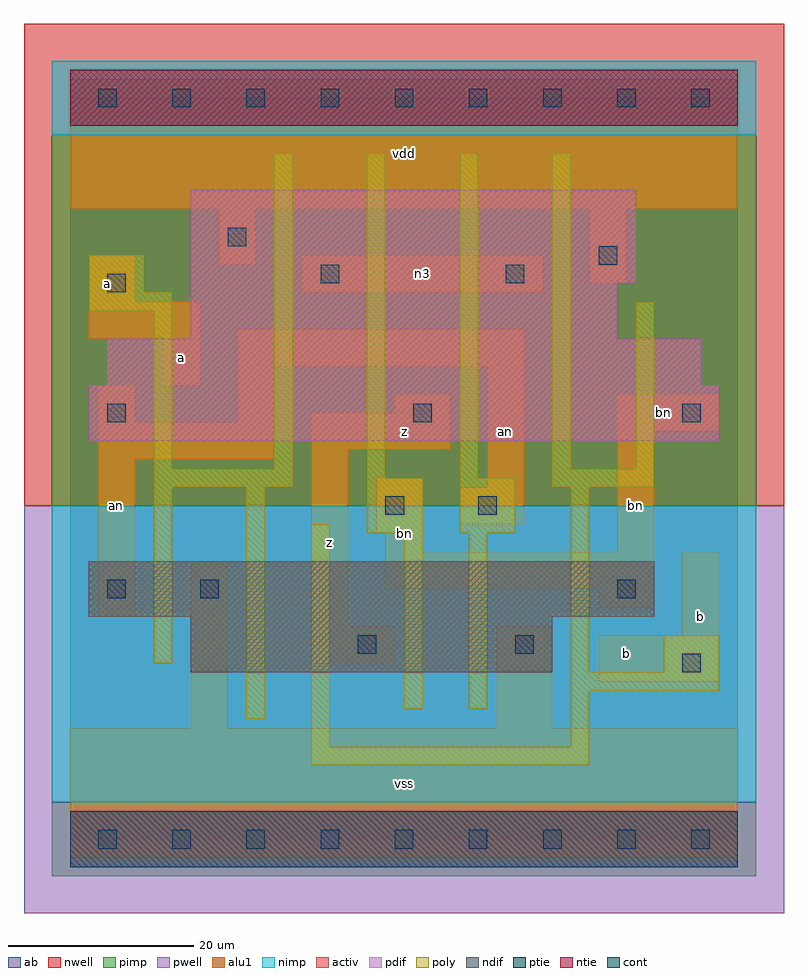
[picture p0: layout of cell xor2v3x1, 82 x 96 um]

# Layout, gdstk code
import gdstk
lib = gdstk.Library(unit=1e-6, precision=1e-09)
def R(c, l, rs):  # rectangles x0, y0, x1, y1
    for r in rs: c.add(gdstk.rectangle(r[:2], r[2:], *l))
def A(c, l, x, y, w, h, nx, ny, dx, dy):  # array of equal rectangles
    R(c, l, [(x+i*dx, y+j*dy, x+i*dx+w, y+j*dy+h) for i in range(nx) for j in range(ny)])
ndif = (3, 0)
pdif = (4, 0)
ntie = (5, 0)
ptie = (6, 0)
cont = (25, 0)
pwell = (41, 0)
nwell = (42, 0)
activ = (43, 0)
pimp = (44, 0)
nimp = (45, 0)
poly = (46, 0)
alu1 = (49, 0)
ab = (63, 0)

xor2v3x1 = lib.new_cell('xor2v3x1')
R(xor2v3x1, ndif, [(13,18,52,24), (2,24,63,30)])
R(xor2v3x1, pdif, [(2,43,70,49), (4,49,68,54), (13,54,59,60), (13,60,61,70)])
R(xor2v3x1, ntie, [(0,77,72,83)])
R(xor2v3x1, ptie, [(0,-3,72,3)])
A(xor2v3x1, cont, 3, -1, 2, 2, 9, 2, 8, 80)
R(xor2v3x1, cont, [(66,18,68,20), (31,20,33,22), (48,20,50,22), (4,26,6,28), (14,26,16,28), (59,26,61,28), (34,35,36,37), (44,35,46,37), (4,45,6,47), (37,45,39,47), (66,45,68,47), (4,59,6,61), (27,60,29,62), (47,60,49,62), (57,62,59,64), (17,64,19,66)])
R(xor2v3x1, pwell, [(-5,-8,77,36)])
R(xor2v3x1, nwell, [(-5,36,77,88)])
R(xor2v3x1, activ, [(0,-3,72,3), (13,18,52,24), (2,24,63,30), (2,43,70,49), (4,49,68,54), (13,54,59,60), (13,60,61,70), (0,77,72,83)])
R(xor2v3x1, pimp, [(-2,-4,74,4), (-2,36,74,76)])
R(xor2v3x1, nimp, [(-2,4,74,36), (-2,76,74,84)])
R(xor2v3x1, poly, [(26,8,56,10), (26,10,28,34), (54,10,56,16), (19,13,21,38), (36,14,38,33), (43,14,45,33), (54,16,70,18), (54,18,56,38), (64,18,70,22), (9,19,11,38), (32,33,38,39), (42,33,48,39), (9,38,24,40), (52,38,63,40), (32,39,34,74), (42,39,44,74), (9,40,11,57), (22,40,24,74), (52,40,54,74), (61,40,63,58), (2,57,11,59), (2,59,8,63)])
R(xor2v3x1, alu1, [(0,-2,72,12), (13,12,17,30), (46,12,52,23), (57,17,70,22), (26,19,35,23), (66,22,70,31), (26,23,30,42), (3,24,7,41), (57,25,63,27), (34,27,63,31), (34,31,38,33), (59,31,63,44), (33,33,38,39), (42,34,49,38), (45,38,49,51), (3,41,22,45), (26,42,41,46), (59,44,70,48), (3,45,7,49), (18,45,22,51), (35,46,41,48), (10,49,14,54), (18,51,49,55), (2,54,14,58), (2,58,7,63), (25,59,51,63), (56,60,60,68), (16,62,20,68), (0,68,72,82)])
R(xor2v3x1, ab, [(0,0,72,80)])
xor2v3x1.add(gdstk.Label('an', (5,36), layer=49, texttype=0))
xor2v3x1.add(gdstk.Label('bn', (36,33), layer=49, texttype=0))
xor2v3x1.add(gdstk.Label('an', (47,44), layer=49, texttype=0))
xor2v3x1.add(gdstk.Label('n3', (38,61), layer=49, texttype=0))
xor2v3x1.add(gdstk.Label('bn', (61,36), layer=49, texttype=0))
xor2v3x1.add(gdstk.Label('bn', (64,46), layer=49, texttype=0))
xor2v3x1.add(gdstk.Label('a', (12,52), layer=49, texttype=0))
xor2v3x1.add(gdstk.Label('a', (4,60), layer=49, texttype=0))
xor2v3x1.add(gdstk.Label('z', (28,32), layer=49, texttype=0))
xor2v3x1.add(gdstk.Label('vss', (36,6), layer=49, texttype=0))
xor2v3x1.add(gdstk.Label('z', (36,44), layer=49, texttype=0))
xor2v3x1.add(gdstk.Label('vdd', (36,74), layer=49, texttype=0))
xor2v3x1.add(gdstk.Label('b', (60,20), layer=49, texttype=0))
xor2v3x1.add(gdstk.Label('b', (68,24), layer=49, texttype=0))

lib.write_gds('xor2v3x1.gds')
